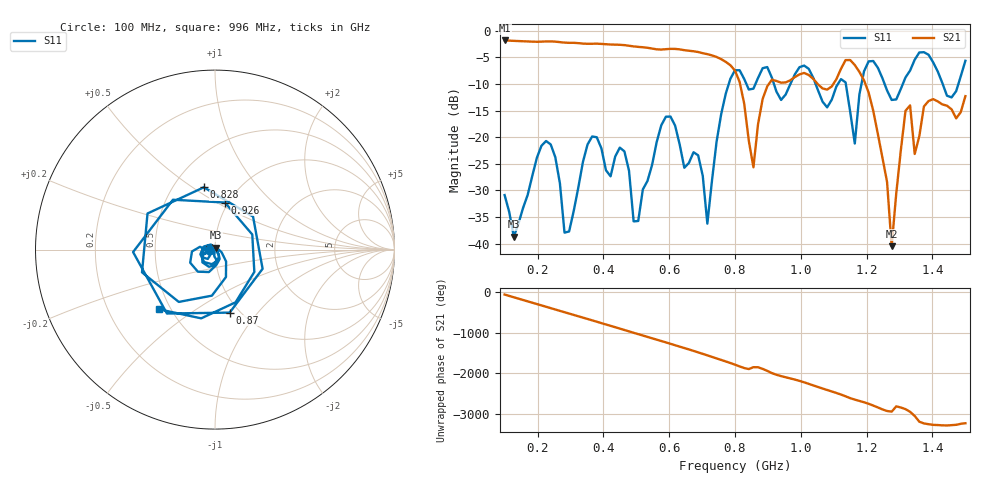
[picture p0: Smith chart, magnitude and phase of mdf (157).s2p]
! NanoVNA-App
! Date: 2025-09-25 15:39:39
! Start: 100MHz Stop: 1,5GHz Points: 101
! S-Parameter data: F S11 S21 S12 S22
# Hz S RI R 50
!  Frequency  S11_Real  S11_Imag  S21_Real  S21_Imag  S12_Real  S12_Imag  S22_Real  S22_Imag
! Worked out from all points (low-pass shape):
!   101 points, 100 MHz to 1.5 GHz, reference 50 ohm
!   highest |S21| = -1.81 dB at 100 MHz (marker M1); lowest = -40.5 dB at 1.276 GHz (marker M2)
!   |S21| within 3 dB of the highest: start of sweep to 739 MHz
!   lowest |S11| = -38.7 dB at 128 MHz (marker M3), VSWR 1.02, Z = 50.4 + j1.1 ohm
!   |S11| at or under -10 dB: start of sweep to 781 MHz; 918.4 MHz to 968.2 MHz (49.82 MHz wide, 5.28 % of centre); 1.045 GHz to 1.113 GHz (67.7 MHz wide, 6.28 % of centre) (the widest 3 of 7)
!   S12 and S22 are empty: the file has one direction only
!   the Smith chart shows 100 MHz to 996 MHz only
!   S11 on the Smith chart (normalised r, x): 100 MHz: 0.94, -0.01; 828 MHz: 0.70, +0.56; 870 MHz: 0.90, -0.73; 926 MHz: 0.97, +0.55; 996 MHz: 0.43, -0.36
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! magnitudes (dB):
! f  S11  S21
! 100 MHz  -30.9  -1.8
! 128 MHz  -38.7  -1.9
! 212 MHz  -21.6  -2.0
! 282 MHz  -38.0  -2.2
! 338 MHz  -24.6  -2.4
! 464 MHz  -22.7  -2.7
! 506 MHz  -35.8  -3.0
! 576 MHz  -17.8  -3.5
! 688 MHz  -23.4  -4.0
! 716 MHz  -36.3  -4.4
! 800 MHz  -7.4  -7.5
! 828 MHz  -9.1  -13.7
! 856 MHz  -10.9  -25.7
! 870 MHz  -8.9  -17.6
! 926 MHz  -11.4  -9.4
! 996 MHz  -6.8  -8.2
! 1.038 GHz  -8.8  -9.0
! 1.164 GHz  -21.2  -6.4
! 1.192 GHz  -7.6  -9.3
! 1.276 GHz  -13.0  -40.5
! 1.318 GHz  -8.8  -15.0
! 1.5 GHz  -5.6  -12.3
